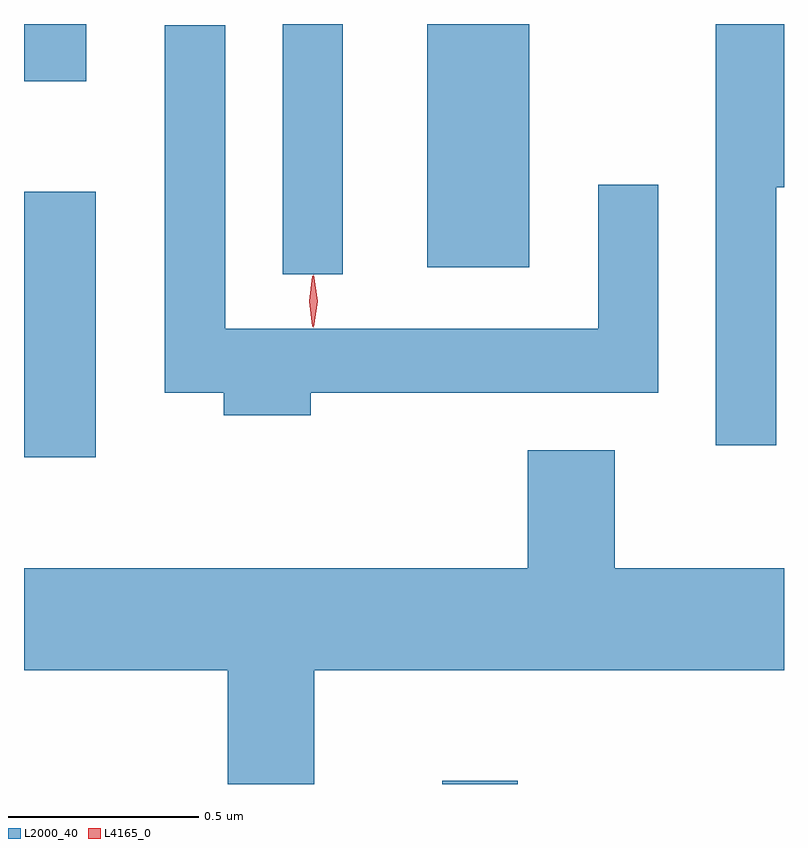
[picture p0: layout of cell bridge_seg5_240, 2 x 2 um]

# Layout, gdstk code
import gdstk
lib = gdstk.Library(unit=1e-6, precision=1e-09)
def R(c, l, rs):  # rectangles x0, y0, x1, y1
    for r in rs: c.add(gdstk.rectangle(r[:2], r[2:], *l))
def P(c, l, *ps):  # polygons
    for p in ps: c.add(gdstk.Polygon(p, *l))
L2000_40 = (2000, 40)
L4165_0 = (4165, 0)

bridge_seg5_240 = lib.new_cell('bridge_seg5_240')
R(bridge_seg5_240, L2000_40, [(1342.686,1427.636,1342.884,1427.644), (1341.585,1428.496,1341.774,1429.194), (1342.266,1428.978,1342.424,1429.636), (1342.646,1428.996,1342.914,1429.636), (1341.585,1429.486,1341.749,1429.636)])
P(bridge_seg5_240, L2000_40, [(1343.564,1429.206),(1343.585,1429.206),(1343.585,1429.636),(1343.406,1429.636),(1343.406,1428.528),(1343.564,1428.528)],
  [(1342.339,1428.666),(1343.254,1428.666),(1343.254,1429.213),(1343.096,1429.213),(1343.096,1428.834),(1342.114,1428.834),(1342.114,1429.633),(1341.956,1429.633),(1341.956,1428.666),(1342.111,1428.666),(1342.111,1428.606),(1342.339,1428.606)],
  [(1342.349,1427.936),(1343.585,1427.936),(1343.585,1428.204),(1343.139,1428.204),(1343.139,1428.514),(1342.911,1428.514),(1342.911,1428.204),(1341.585,1428.204),(1341.585,1427.936),(1342.121,1427.936),(1342.121,1427.636),(1342.349,1427.636)])
P(bridge_seg5_240, L4165_0, [(1342.348,1428.837),(1342.348,1428.838),(1342.338,1428.907),(1342.348,1428.976),(1342.348,1428.976),(1342.348,1428.976),(1342.358,1428.907),(1342.348,1428.838)],
  [(1342.345,1428.839),(1342.344,1428.84),(1342.335,1428.906),(1342.344,1428.972),(1342.345,1428.973),(1342.346,1428.972),(1342.355,1428.906),(1342.346,1428.84)])

lib.write_gds('bridge_seg5_240.gds')
